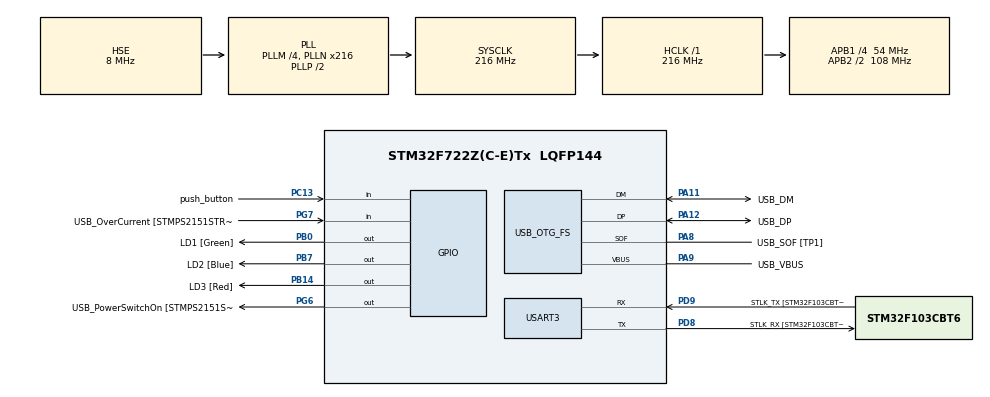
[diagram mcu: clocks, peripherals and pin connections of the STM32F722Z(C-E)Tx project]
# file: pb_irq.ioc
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Mcu.Family=STM32F7
Mcu.Name=STM32F722Z(C-E)Tx
Mcu.Package=LQFP144
NVIC.PriorityGroup=NVIC_PRIORITYGROUP_4
NVIC.TIM8_UP_TIM13_IRQn=true\:0\:0\:false\:false\:true\:true\:true\:true
PA10.GPIO_Label=USB_ID
PA10.Signal=USB_OTG_FS_ID
PA11.GPIO_Label=USB_DM
PA11.Mode=Device_Only
PA11.Signal=USB_OTG_FS_DM
PA12.GPIO_Label=USB_DP
PA12.Mode=Device_Only
PA12.Signal=USB_OTG_FS_DP
PA13.GPIO_Label=TMS
PA13.Mode=Serial_Wire
PA13.Signal=SYS_JTMS-SWDIO
PA14.GPIO_Label=TCK
PA14.Mode=Serial_Wire
PA14.Signal=SYS_JTCK-SWCLK
PA8.GPIO_Label=USB_SOF [TP1]
PA8.Mode=Activate_SOF_FS
PA8.Signal=USB_OTG_FS_SOF
PA9.GPIO_Label=USB_VBUS
PA9.Mode=Activate_VBUS
PA9.Signal=USB_OTG_FS_VBUS
PB0.GPIO_Label=LD1 [Green]
PB0.Signal=GPIO_Output
PB14.GPIO_Label=LD3 [Red]
PB14.Signal=GPIO_Output
PB3.GPIO_Label=SWO
PB3.Signal=SYS_JTDO-SWO
PB7.GPIO_Label=LD2 [Blue]
PB7.Signal=GPIO_Output
PC13.GPIO_Label=push_button
PC13.Signal=GPIO_Input
PC14-OSC32_IN.Mode=LSE-External-Oscillator
PC14-OSC32_IN.Signal=RCC_OSC32_IN
PC15-OSC32_OUT.Mode=LSE-External-Oscillator
PC15-OSC32_OUT.Signal=RCC_OSC32_OUT
PD8.GPIO_Label=STLK_RX [STM32F103CBT6_PA3]
PD8.Mode=Asynchronous
PD8.Signal=USART3_TX
PD9.GPIO_Label=STLK_TX [STM32F103CBT6_PA2]
PD9.Mode=Asynchronous
PD9.Signal=USART3_RX
PG6.GPIO_Label=USB_PowerSwitchOn [STMPS2151STR_EN]
PG6.Signal=GPIO_Output
PG7.GPIO_Label=USB_OverCurrent [STMPS2151STR_FAULT]
PG7.Signal=GPIO_Input
PH0-OSC_IN.GPIO_Label=MCO
PH0-OSC_IN.Mode=HSE-External-Clock-Source
PH0-OSC_IN.Signal=RCC_OSC_IN
PH1-OSC_OUT.Mode=HSE-External-Clock-Source
PH1-OSC_OUT.Signal=RCC_OSC_OUT
ProjectManager.HeapSize=0x200
ProjectManager.StackSize=0x400
ProjectManager.TargetToolchain=STM32CubeIDE
RCC.48MHZClocksFreq_Value=24000000
RCC.AHBFreq_Value=216000000
RCC.APB1CLKDivider=RCC_HCLK_DIV4
RCC.APB1Freq_Value=54000000
RCC.APB1TimFreq_Value=108000000
RCC.APB2CLKDivider=RCC_HCLK_DIV2
RCC.APB2Freq_Value=108000000
RCC.APB2TimFreq_Value=216000000
RCC.CortexFreq_Value=216000000
RCC.HCLKFreq_Value=216000000
RCC.HSE_VALUE=8000000
RCC.HSI_VALUE=16000000
RCC.PLLM=4
RCC.PLLMUL=RCC_PLL_MUL9
RCC.PLLN=216
RCC.PLLQ=9
RCC.PRESCALERUSB=RCC_USBCLKSOURCE_PLL_DIV1_5
RCC.SYSCLKFreq_VALUE=216000000
RCC.SYSCLKSource=RCC_SYSCLKSOURCE_PLLCLK
RCC.SYSCLKSourceVirtual=RCC_SYSCLKSOURCE_PLLCLK
RCC.USBFreq_Value=48000000
RCC.VCOOutputFreq_Value=432000000
TIM13.Period=10000-1
TIM13.Prescaler=108-1
USART3.VirtualMode-Asynchronous=VM_ASYNC
USB_OTG_FS.VirtualMode=Device_Only
VP_TIM13_VS_ClockSourceINT.Mode=Enable_Timer
board=NUCLEO-F722ZE

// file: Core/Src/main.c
/* USER CODE BEGIN Header */
/**
  ******************************************************************************
  * @file           : main.c
  * @brief          : Main program body
  ******************************************************************************
  * @attention
  *
  * Copyright (c) 2023 STMicroelectronics.
  * All rights reserved.
  *
  * This software is licensed under terms that can be found in the LICENSE file
  * in the root directory of this software component.
  * If no LICENSE file comes with this software, it is provided AS-IS.
  *
  ******************************************************************************
  */
/* USER CODE END Header */
#include "main.h"

TIM_HandleTypeDef htim13;

UART_HandleTypeDef huart3;

PCD_HandleTypeDef hpcd_USB_OTG_FS;

/* USER CODE BEGIN PV */
uint8_t BlinkSpeed = 0;
uint8_t msg[20];
uint8_t debounceRequest =0;
uint8_t debounceCount = 0;
/* USER CODE END PV */

void SystemClock_Config(void);
static void MX_GPIO_Init(void);
static void MX_USART3_UART_Init(void);
static void MX_USB_OTG_FS_PCD_Init(void);
static void MX_TIM13_Init(void);

int main(void)
{

  /* MCU Configuration--------------------------------------------------------*/

  /* Reset of all peripherals, Initializes the Flash interface and the Systick. */
  HAL_Init();

  /* Configure the system clock */
  SystemClock_Config();

  /* Initialize all configured peripherals */
  MX_GPIO_Init();
  MX_USART3_UART_Init();
  MX_USB_OTG_FS_PCD_Init();
  MX_TIM13_Init();
  /* USER CODE BEGIN 2 */
  // Start timer
  HAL_TIM_Base_Start_IT(&htim13);
  /* USER CODE END 2 */

  /* Infinite loop */
  /* USER CODE BEGIN WHILE */
  HAL_UART_Transmit(&huart3, (uint8_t *)"Hello world",15, 1000);
  while (1)
  {
	  if(BlinkSpeed == 0)
	  {
		  HAL_GPIO_WritePin(GPIOB, GPIO_PIN_0, 1);
		  HAL_GPIO_WritePin(GPIOB, GPIO_PIN_7, 0);
		  //HAL_GPIO_WritePin(GPIOB, GPIO_PIN_14, 0);
		  //HAL_UART_Transmit(&huart3, (uint8_t *)"Hello Green\n", 15, 1000);
		  //HAL_GPIO_TogglePin(GPIOB, GPIO_PIN_0);//green
		  //HAL_Delay(500);
	  }
	  else if(BlinkSpeed == 1)
	  {
		  //HAL_GPIO_TogglePin(GPIOB, GPIO_PIN_7);//blue
		  //HAL_Delay(100);
		  HAL_GPIO_WritePin(GPIOB, GPIO_PIN_0, 0);
		  HAL_GPIO_WritePin(GPIOB, GPIO_PIN_7, 1);
		  //HAL_GPIO_WritePin(GPIOB, GPIO_PIN_14, 0);
		  //HAL_UART_Transmit(&huart3, (uint8_t *)"Hello Blue\n", 15, 1000);
	  }
	  else if(BlinkSpeed == 2)
	  {
		  //HAL_GPIO_TogglePin(GPIOB, GPIO_PIN_14);//red
		  //HAL_Delay(50);
		  HAL_GPIO_WritePin(GPIOB, GPIO_PIN_0, 0);
		  HAL_GPIO_WritePin(GPIOB, GPIO_PIN_7, 0);
		  //HAL_GPIO_WritePin(GPIOB, GPIO_PIN_14, 0);
		  //HAL_UART_Transmit(&huart3, (uint8_t *)"Hello Red\n", 15, 1000);
	  }
	  HAL_GPIO_TogglePin(GPIOB, GPIO_PIN_14);//red
	  HAL_Delay(50);
    /* USER CODE END WHILE */

  }
}

void SystemClock_Config(void)
{
  RCC_OscInitTypeDef RCC_OscInitStruct = {0};
  RCC_ClkInitTypeDef RCC_ClkInitStruct = {0};

  /** Configure LSE Drive Capability
  */
  HAL_PWR_EnableBkUpAccess();

  /** Configure the main internal regulator output voltage
  */
  __HAL_RCC_PWR_CLK_ENABLE();
  __HAL_PWR_VOLTAGESCALING_CONFIG(PWR_REGULATOR_VOLTAGE_SCALE1);

  /** Initializes the RCC Oscillators according to the specified parameters
  * in the RCC_OscInitTypeDef structure.
  */
  RCC_OscInitStruct.OscillatorType = RCC_OSCILLATORTYPE_HSE;
  RCC_OscInitStruct.HSEState = RCC_HSE_BYPASS;
  RCC_OscInitStruct.PLL.PLLState = RCC_PLL_ON;
  RCC_OscInitStruct.PLL.PLLSource = RCC_PLLSOURCE_HSE;
  RCC_OscInitStruct.PLL.PLLM = 4;
  RCC_OscInitStruct.PLL.PLLN = 216;
  RCC_OscInitStruct.PLL.PLLP = RCC_PLLP_DIV2;
  RCC_OscInitStruct.PLL.PLLQ = 9;
  if (HAL_RCC_OscConfig(&RCC_OscInitStruct) != HAL_OK)
  {
    Error_Handler();
  }

  /** Activate the Over-Drive mode
  */
  if (HAL_PWREx_EnableOverDrive() != HAL_OK)
  {
    Error_Handler();
  }

  /** Initializes the CPU, AHB and APB buses clocks
  */
  RCC_ClkInitStruct.ClockType = RCC_CLOCKTYPE_HCLK|RCC_CLOCKTYPE_SYSCLK
                              |RCC_CLOCKTYPE_PCLK1|RCC_CLOCKTYPE_PCLK2;
  RCC_ClkInitStruct.SYSCLKSource = RCC_SYSCLKSOURCE_PLLCLK;
  RCC_ClkInitStruct.AHBCLKDivider = RCC_SYSCLK_DIV1;
  RCC_ClkInitStruct.APB1CLKDivider = RCC_HCLK_DIV4;
  RCC_ClkInitStruct.APB2CLKDivider = RCC_HCLK_DIV2;

  if (HAL_RCC_ClockConfig(&RCC_ClkInitStruct, FLASH_LATENCY_7) != HAL_OK)
  {
    Error_Handler();
  }
}

static void MX_TIM13_Init(void)
{

  htim13.Instance = TIM13;
  htim13.Init.Prescaler = 108-1;
  htim13.Init.CounterMode = TIM_COUNTERMODE_UP;
  htim13.Init.Period = 10000-1;
  htim13.Init.ClockDivision = TIM_CLOCKDIVISION_DIV1;
  htim13.Init.AutoReloadPreload = TIM_AUTORELOAD_PRELOAD_DISABLE;
  if (HAL_TIM_Base_Init(&htim13) != HAL_OK)
  {
    Error_Handler();
  }

}

static void MX_USART3_UART_Init(void)
{

  huart3.Instance = USART3;
  huart3.Init.BaudRate = 115200;
  huart3.Init.WordLength = UART_WORDLENGTH_8B;
  huart3.Init.StopBits = UART_STOPBITS_1;
  huart3.Init.Parity = UART_PARITY_NONE;
  huart3.Init.Mode = UART_MODE_TX_RX;
  huart3.Init.HwFlowCtl = UART_HWCONTROL_NONE;
  huart3.Init.OverSampling = UART_OVERSAMPLING_16;
  huart3.Init.OneBitSampling = UART_ONE_BIT_SAMPLE_DISABLE;
  huart3.AdvancedInit.AdvFeatureInit = UART_ADVFEATURE_NO_INIT;
  if (HAL_UART_Init(&huart3) != HAL_OK)
  {
    Error_Handler();
  }

}

static void MX_USB_OTG_FS_PCD_Init(void)
{

  hpcd_USB_OTG_FS.Instance = USB_OTG_FS;
  hpcd_USB_OTG_FS.Init.dev_endpoints = 6;
  hpcd_USB_OTG_FS.Init.speed = PCD_SPEED_FULL;
  hpcd_USB_OTG_FS.Init.dma_enable = DISABLE;
  hpcd_USB_OTG_FS.Init.phy_itface = PCD_PHY_EMBEDDED;
  hpcd_USB_OTG_FS.Init.Sof_enable = ENABLE;
  hpcd_USB_OTG_FS.Init.low_power_enable = DISABLE;
  hpcd_USB_OTG_FS.Init.lpm_enable = DISABLE;
  hpcd_USB_OTG_FS.Init.battery_charging_enable = ENABLE;
  hpcd_USB_OTG_FS.Init.vbus_sensing_enable = ENABLE;
  hpcd_USB_OTG_FS.Init.use_dedicated_ep1 = DISABLE;
  if (HAL_PCD_Init(&hpcd_USB_OTG_FS) != HAL_OK)
  {
    Error_Handler();
  }

}

static void MX_GPIO_Init(void)
{
  GPIO_InitTypeDef GPIO_InitStruct = {0};

  /* GPIO Ports Clock Enable */
  __HAL_RCC_GPIOC_CLK_ENABLE();
  __HAL_RCC_GPIOH_CLK_ENABLE();
  __HAL_RCC_GPIOB_CLK_ENABLE();
  __HAL_RCC_GPIOD_CLK_ENABLE();
  __HAL_RCC_GPIOG_CLK_ENABLE();
  __HAL_RCC_GPIOA_CLK_ENABLE();

  /*Configure GPIO pin Output Level */
  HAL_GPIO_WritePin(GPIOB, LD1_Pin|LD3_Pin|LD2_Pin, GPIO_PIN_RESET);

  /*Configure GPIO pin Output Level */
  HAL_GPIO_WritePin(USB_PowerSwitchOn_GPIO_Port, USB_PowerSwitchOn_Pin, GPIO_PIN_RESET);

  /*Configure GPIO pin : push_button_Pin */
  GPIO_InitStruct.Pin = push_button_Pin;
  GPIO_InitStruct.Mode = GPIO_MODE_INPUT;
  GPIO_InitStruct.Pull = GPIO_NOPULL;
  HAL_GPIO_Init(push_button_GPIO_Port, &GPIO_InitStruct);

  /*Configure GPIO pins : LD1_Pin LD3_Pin LD2_Pin */
  GPIO_InitStruct.Pin = LD1_Pin|LD3_Pin|LD2_Pin;
  GPIO_InitStruct.Mode = GPIO_MODE_OUTPUT_PP;
  GPIO_InitStruct.Pull = GPIO_NOPULL;
  GPIO_InitStruct.Speed = GPIO_SPEED_FREQ_LOW;
  HAL_GPIO_Init(GPIOB, &GPIO_InitStruct);

  /*Configure GPIO pin : USB_PowerSwitchOn_Pin */
  GPIO_InitStruct.Pin = USB_PowerSwitchOn_Pin;
  GPIO_InitStruct.Mode = GPIO_MODE_OUTPUT_PP;
  GPIO_InitStruct.Pull = GPIO_NOPULL;
  GPIO_InitStruct.Speed = GPIO_SPEED_FREQ_LOW;
  HAL_GPIO_Init(USB_PowerSwitchOn_GPIO_Port, &GPIO_InitStruct);

  /*Configure GPIO pin : USB_OverCurrent_Pin */
  GPIO_InitStruct.Pin = USB_OverCurrent_Pin;
  GPIO_InitStruct.Mode = GPIO_MODE_INPUT;
  GPIO_InitStruct.Pull = GPIO_NOPULL;
  HAL_GPIO_Init(USB_OverCurrent_GPIO_Port, &GPIO_InitStruct);

}

/* USER CODE BEGIN 4 */
/*void HAL_GPIO_EXTI_Callback(uint16_t GPIO_Pin)
{
  if(BlinkSpeed == 2)
  {
    BlinkSpeed = 0;
  }
  else
  {
    BlinkSpeed ++;

  }
  if(BlinkSpeed == 0)
  {
	  HAL_UART_Transmit(&huart3, "Hello Green\n" , strlen("Hello Green\n"), 1000);
  }
  else if(BlinkSpeed == 1)
  {
	  HAL_UART_Transmit(&huart3, "Hello Blue\n" , strlen("Hello Blue\n"), 1000);
  }
  else if(BlinkSpeed == 2)
  {
	  HAL_UART_Transmit(&huart3, "Hello Red\n" , strlen("Hello Red\n"), 1000);
  }
}*/

void HAL_TIM_PeriodElapsedCallback(TIM_HandleTypeDef *htim)
{

	if (htim == &htim13 )
	{
		if (!debounceRequest)
		{
			if (HAL_GPIO_ReadPin(GPIOC, GPIO_PIN_13) == 1)
			{
				if(BlinkSpeed == 2)
				{
					BlinkSpeed = 0;
				}
				else
				{
					BlinkSpeed ++;

				}
				debounceRequest = 1;
			}
		}
		// Handle debounce
		else
		{
			if (HAL_GPIO_ReadPin(GPIOC, GPIO_PIN_13) == 1)
				debounceCount = 0;
			else
			{
				debounceCount ++;
				if (debounceCount == 10)
				{
					debounceCount = 0;
					debounceRequest = 0;
				}
			}
		}
	}

}
/* USER CODE END 4 */

void Error_Handler(void)
{
  __disable_irq();
  while (1)
  {
  }
}
